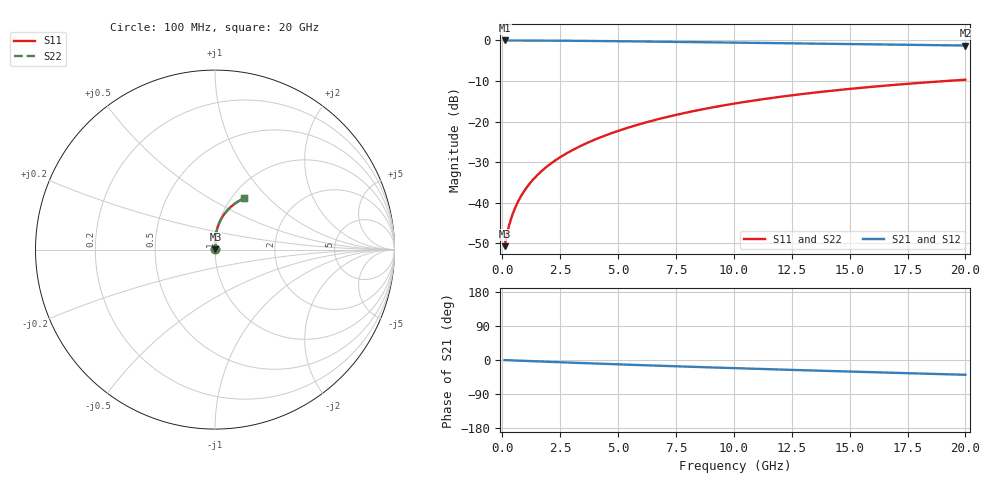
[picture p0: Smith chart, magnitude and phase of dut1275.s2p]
! Touchstone file exported from HFSS 2024.1.0
!  File:  C:/UserFiles/LocalFiles/RDL_TSV_Batchsim/temp_RDL_top_1275_1780242316.aedt
!  Generated:  11:47:20 PM May 31, 2026
!  Design:  RDL_top
!  Project:  temp_RDL_top_1275_1780242316
!  Setup:  Setup1
!  Solution:  Sweep
! Variables:
!  dtsv = 10.80580581um
!  hbump = 3um
!  htsv = 70.52um
!  ldown = 100um
!  lrdl = 565.25um
!  p = 40
!  p1 = 50.31um
!  rhole = 1um
!  t = 450um
!  tdown = 3.915915916um
!  trdl = 3.65um
!  wdown = 15.38538539um
!  wrdl = 24.93um
# GHz S MA R 50.000000
! Terminal data exported
! Port[1] = Box2_T1
! Port[2] = Box2_T2
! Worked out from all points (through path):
!   200 points, 100 MHz to 20 GHz, reference 50 ohm
!   highest |S21| = -0.02 dB at 100 MHz (marker M1); lowest = -1.3 dB at 20 GHz (marker M2)
!   group delay of S21, straight-line fit = 5.35 ps
!   lowest |S11| = -50.7 dB at 100 MHz (marker M3), VSWR 1.01, Z = 50.2 + j0.165 ohm
!   |S11| at or under -10 dB: start of sweep to 19.17 GHz
!   |S22| runs from -50.7 to -9.7 dB; largest |S21 - S12| = 2.1e-15
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0.1  0.002926 34.0  0.9976 -0.3  0.9976 -0.3  0.002926 34.0
! Gamma 0 0 0 0
! Port Impedance 50 0 50 0
0.2  0.004089 50.9  0.9974 -0.5  0.9974 -0.5  0.004089 50.9
0.3  0.005361 59.5  0.9972 -0.7  0.9972 -0.7  0.005361 59.5
0.4  0.00665 64.9  0.997 -1.0  0.997 -1.0  0.00665 64.9
0.5  0.007952 68.7  0.9968 -1.2  0.9968 -1.2  0.007952 68.7
0.6  0.009271 71.6  0.9966 -1.5  0.9966 -1.5  0.009272 71.6
0.8  0.01196 75.7  0.9963 -1.9  0.9963 -1.9  0.01196 75.7
1.1  0.01609 79.4  0.9957 -2.6  0.9957 -2.6  0.01609 79.4
1.3  0.0189 81.1  0.9952 -3.1  0.9952 -3.1  0.0189 81.1
1.6  0.02318 82.9  0.9944 -3.8  0.9944 -3.8  0.02318 82.9
2.1  0.03047 84.7  0.9926 -5.0  0.9926 -5.0  0.03047 84.7
2.7  0.0395 86.0  0.9901 -6.4  0.9901 -6.4  0.03949 86.0
3.5  0.05199 86.8  0.9859 -8.2  0.9859 -8.2  0.05197 86.7
4.2  0.06335 86.9  0.9817 -9.7  0.9817 -9.7  0.06333 86.8
5  0.07679 86.6  0.9764 -11.5  0.9764 -11.5  0.07675 86.5
6.8  0.1084 84.7  0.9633 -15.2  0.9633 -15.2  0.1083 84.7
8.4  0.1373 82.3  0.9512 -18.4  0.9512 -18.4  0.1372 82.2
10.1  0.1681 79.2  0.9382 -21.7  0.9382 -21.7  0.1679 79.2
11.7  0.1966 76.2  0.926 -24.6  0.926 -24.6  0.1964 76.1
13.4  0.226 72.9  0.9132 -27.7  0.9132 -27.7  0.2258 72.8
16.7  0.2796 66.6  0.8885 -33.5  0.8885 -33.5  0.2793 66.5
20  0.3278 60.5  0.8641 -39.0  0.8641 -39.0  0.3275 60.5
